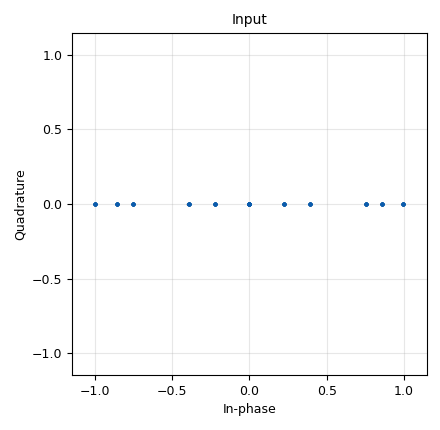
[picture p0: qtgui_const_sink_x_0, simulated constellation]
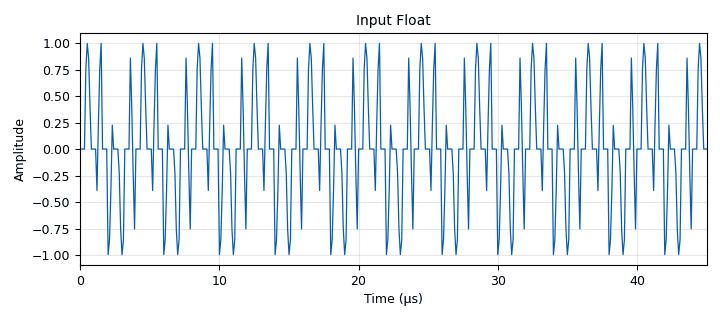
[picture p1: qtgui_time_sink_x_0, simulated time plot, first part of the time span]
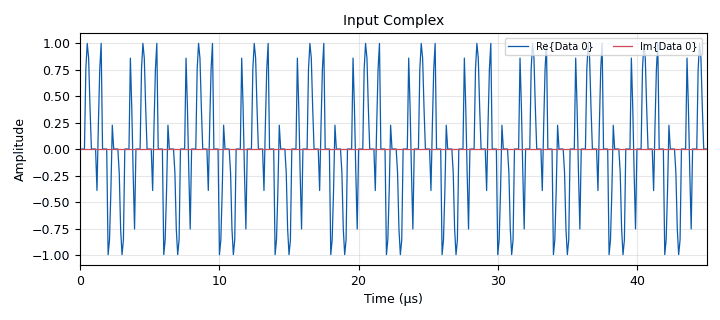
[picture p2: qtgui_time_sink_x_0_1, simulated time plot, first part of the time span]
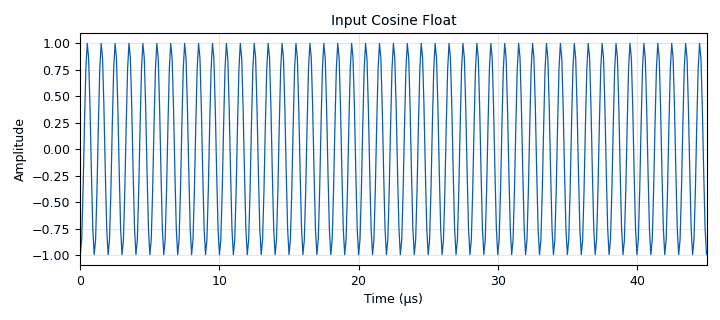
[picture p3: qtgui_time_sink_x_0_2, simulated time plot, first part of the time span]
options:
  parameters:
    author: mzemlo.pl@gmail.com
    generate_options: qt_gui
    id: ask_001
    output_language: python
    title: ASK 001
  states: {}

blocks:
- name: co
  id: variable_constellation
  parameters:
    precision: '8'
    type: qpsk
  states: {}
- name: fbb
  id: variable_qtgui_range
  parameters:
    label: baseband freq
    start: 70e6
    step: 1e6
    stop: 6e9
    value: '71000000'
  states: {}
- name: fc
  id: variable_qtgui_range
  parameters:
    start: 70e6
    step: 1e6
    stop: 6e9
    value: 3.5e9
  states: {}
- name: samp_rate
  id: variable_qtgui_range
  parameters:
    start: '65105'
    step: '1000'
    stop: '61440000'
    value: '10000000'
  states: {}
- name: sps
  id: variable
  parameters:
    value: '2'
  states: {}
- name: analog_const_source_x_0
  id: analog_const_source_x
  parameters:
    const: '0'
    type: float
  states: {state: disabled}
- name: analog_const_source_x_0_0
  id: analog_const_source_x
  parameters:
    const: '0'
    type: float
  states: {}
- name: analog_random_uniform_source_x_0
  id: analog_random_uniform_source_x
  parameters:
    maximum: '2'
    minimum: '0'
    seed: '0'
    type: byte
  states: {state: disabled}
- name: analog_sig_source_x_0
  id: analog_sig_source_x
  parameters:
    amp: '1'
    freq: int ( fbb )
    offset: '0'
    phase: '0'
    samp_rate: int ( samp_rate )
    type: float
    waveform: analog.GR_COS_WAVE
  states: {}
- name: blocks_add_const_vxx_0
  id: blocks_add_const_vxx
  parameters:
    const: '-1'
    type: float
  states: {state: disabled}
- name: blocks_complex_to_real_0_0
  id: blocks_complex_to_real
  parameters: {}
  states: {}
- name: blocks_file_sink_0
  id: blocks_file_sink
  parameters:
    file: C:\Users\mzeml\gnuradio\log\bpsk_003.log
    type: float
  states: {}
- name: blocks_float_to_complex_0
  id: blocks_float_to_complex
  parameters: {}
  states: {state: disabled}
- name: blocks_float_to_complex_0_0
  id: blocks_float_to_complex
  parameters: {}
  states: {}
- name: blocks_keep_one_in_n_0
  id: blocks_keep_one_in_n
  parameters:
    n: int ( sps )
    type: complex
  states: {state: disabled}
- name: blocks_multiply_const_vxx_0
  id: blocks_multiply_const_vxx
  parameters:
    const: '2'
    type: float
  states: {state: disabled}
- name: blocks_multiply_xx_0
  id: blocks_multiply_xx
  parameters:
    type: float
  states: {}
- name: blocks_repeat_0
  id: blocks_repeat
  parameters:
    interp: int ( sps )
    type: float
  states: {}
- name: blocks_threshold_ff_0
  id: blocks_threshold_ff
  parameters:
    high: '0.7'
    init: '0'
    low: '0.7'
  states: {}
- name: blocks_uchar_to_float_0
  id: blocks_uchar_to_float
  parameters: {}
  states: {state: disabled}
- name: blocks_vector_source_x_0
  id: blocks_vector_source_x
  parameters:
    repeat: 'True'
    type: float
    vector: ( 0 , 0 , 1 , 1 )
  states: {}
- name: iio_pluto_sink_0
  id: iio_pluto_sink
  parameters:
    attenuation1: '10.0'
    bandwidth: '20000000'
    buffer_size: '32768'
    cyclic: 'False'
    filter_source: '''Auto'''
    frequency: int ( fc)
    samplerate: int ( samp_rate )
    type: fc32
    uri: usb:2.1.5
  states: {}
- name: iio_pluto_source_0
  id: iio_pluto_source
  parameters:
    bandwidth: '20000000'
    bbdc: 'True'
    buffer_size: '32768'
    filter_source: '''Auto'''
    frequency: int ( fc )
    gain1: '''slow_attack'''
    quadrature: 'True'
    rfdc: 'True'
    samplerate: int ( samp_rate )
    type: fc32
    uri: usb:2.1.5
  states: {}
- name: qtgui_const_sink_x_0
  id: qtgui_const_sink_x
  parameters:
    autoscale: 'True'
    name: Input
    size: '1024'
    type: complex
  states: {}
- name: qtgui_const_sink_x_0_0_0
  id: qtgui_const_sink_x
  parameters:
    name: Output
    size: '1024'
    type: complex
  states: {}
- name: qtgui_number_sink_0
  id: qtgui_number_sink
  parameters:
    graph_type: qtgui.NUM_GRAPH_HORIZ
    min: '0'
    name: '"input bits"'
    type: float
  states: {state: disabled}
- name: qtgui_number_sink_1
  id: qtgui_number_sink
  parameters:
    autoscale: 'True'
    graph_type: qtgui.NUM_GRAPH_HORIZ
    max: '2'
    min: '-2'
    name: output bits
    type: float
  states: {}
- name: qtgui_time_sink_x_0
  id: qtgui_time_sink_x
  parameters:
    autoscale: 'True'
    name: Input Float
    size: '1024'
    srate: int ( samp_rate )
    type: float
  states: {}
- name: qtgui_time_sink_x_0_0
  id: qtgui_time_sink_x
  parameters:
    autoscale: 'True'
    name: Output
    size: '1024'
    srate: int ( samp_rate )
    type: complex
  states: {}
- name: qtgui_time_sink_x_0_1
  id: qtgui_time_sink_x
  parameters:
    autoscale: 'True'
    name: Input Complex
    size: '1024'
    srate: int ( samp_rate )
    type: complex
  states: {}
- name: qtgui_time_sink_x_0_2
  id: qtgui_time_sink_x
  parameters:
    autoscale: 'True'
    name: Input Cosine Float
    size: '1024'
    srate: int ( samp_rate )
    type: float
  states: {}

connections:
- [analog_const_source_x_0, '0', blocks_float_to_complex_0, '1']
- [analog_const_source_x_0_0, '0', blocks_float_to_complex_0_0, '1']
- [analog_random_uniform_source_x_0, '0', blocks_uchar_to_float_0, '0']
- [analog_sig_source_x_0, '0', blocks_multiply_xx_0, '0']
- [analog_sig_source_x_0, '0', qtgui_time_sink_x_0_2, '0']
- [blocks_add_const_vxx_0, '0', blocks_float_to_complex_0, '0']
- [blocks_complex_to_real_0_0, '0', blocks_file_sink_0, '0']
- [blocks_complex_to_real_0_0, '0', blocks_threshold_ff_0, '0']
- [blocks_float_to_complex_0_0, '0', iio_pluto_sink_0, '0']
- [blocks_float_to_complex_0_0, '0', qtgui_const_sink_x_0, '0']
- [blocks_float_to_complex_0_0, '0', qtgui_time_sink_x_0_1, '0']
- [blocks_multiply_const_vxx_0, '0', blocks_add_const_vxx_0, '0']
- [blocks_multiply_xx_0, '0', blocks_float_to_complex_0_0, '0']
- [blocks_multiply_xx_0, '0', qtgui_time_sink_x_0, '0']
- [blocks_repeat_0, '0', blocks_multiply_xx_0, '1']
- [blocks_threshold_ff_0, '0', qtgui_number_sink_1, '0']
- [blocks_uchar_to_float_0, '0', blocks_multiply_const_vxx_0, '0']
- [blocks_uchar_to_float_0, '0', qtgui_number_sink_0, '0']
- [blocks_vector_source_x_0, '0', blocks_repeat_0, '0']
- [iio_pluto_source_0, '0', blocks_complex_to_real_0_0, '0']
- [iio_pluto_source_0, '0', qtgui_const_sink_x_0_0_0, '0']
- [iio_pluto_source_0, '0', qtgui_time_sink_x_0_0, '0']

metadata:
  file_format: 1
  grc_version: 3.10.9.2
